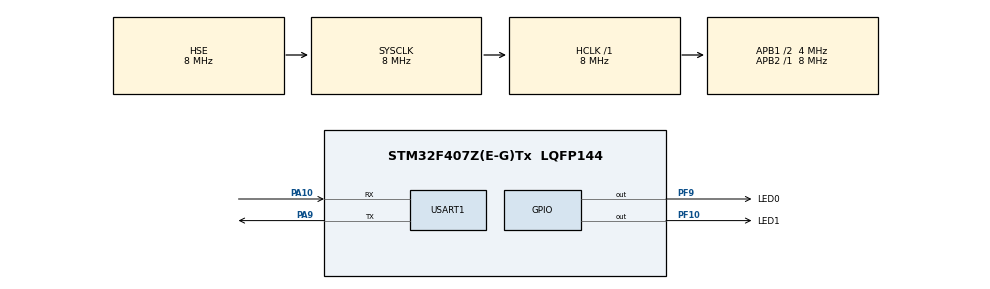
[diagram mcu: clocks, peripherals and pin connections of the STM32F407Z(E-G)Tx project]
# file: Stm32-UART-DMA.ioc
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Dma.Request0=USART1_RX
Dma.Request1=USART1_TX
Dma.USART1_RX.0.Direction=DMA_PERIPH_TO_MEMORY
Dma.USART1_RX.0.FIFOMode=DMA_FIFOMODE_DISABLE
Dma.USART1_RX.0.Instance=DMA2_Stream2
Dma.USART1_RX.0.MemDataAlignment=DMA_MDATAALIGN_BYTE
Dma.USART1_RX.0.MemInc=DMA_MINC_ENABLE
Dma.USART1_RX.0.Mode=DMA_NORMAL
Dma.USART1_RX.0.PeriphDataAlignment=DMA_PDATAALIGN_BYTE
Dma.USART1_RX.0.PeriphInc=DMA_PINC_DISABLE
Dma.USART1_RX.0.Priority=DMA_PRIORITY_LOW
Dma.USART1_TX.1.Direction=DMA_MEMORY_TO_PERIPH
Dma.USART1_TX.1.FIFOMode=DMA_FIFOMODE_DISABLE
Dma.USART1_TX.1.Instance=DMA2_Stream7
Dma.USART1_TX.1.MemDataAlignment=DMA_MDATAALIGN_BYTE
Dma.USART1_TX.1.MemInc=DMA_MINC_ENABLE
Dma.USART1_TX.1.Mode=DMA_NORMAL
Dma.USART1_TX.1.PeriphDataAlignment=DMA_PDATAALIGN_BYTE
Dma.USART1_TX.1.PeriphInc=DMA_PINC_DISABLE
Dma.USART1_TX.1.Priority=DMA_PRIORITY_LOW
FREERTOS.Tasks01=Task_LED1,0,128,Func_LED1,Default,NULL,Dynamic,NULL,NULL;Task_LED0,0,128,Func_LED0,Default,NULL,Dynamic,NULL,NULL
FREERTOS.configUSE_TIMERS=0
Mcu.Family=STM32F4
Mcu.Name=STM32F407Z(E-G)Tx
Mcu.Package=LQFP144
NVIC.DMA2_Stream2_IRQn=true\:5\:0\:false\:false\:true\:true\:false\:true
NVIC.DMA2_Stream7_IRQn=true\:5\:0\:false\:false\:true\:true\:false\:true
NVIC.PriorityGroup=NVIC_PRIORITYGROUP_4
NVIC.TIM1_UP_TIM10_IRQn=true\:15\:0\:false\:false\:true\:false\:false\:true
NVIC.TimeBase=TIM1_UP_TIM10_IRQn
NVIC.TimeBaseIP=TIM1
NVIC.USART1_IRQn=true\:5\:0\:false\:false\:true\:true\:true\:true
PA10.Mode=Asynchronous
PA10.Signal=USART1_RX
PA13.Mode=Serial_Wire
PA13.Signal=SYS_JTMS-SWDIO
PA14.Mode=Serial_Wire
PA14.Signal=SYS_JTCK-SWCLK
PA9.Mode=Asynchronous
PA9.Signal=USART1_TX
PC14-OSC32_IN.Mode=LSE-External-Oscillator
PC14-OSC32_IN.Signal=RCC_OSC32_IN
PC15-OSC32_OUT.Mode=LSE-External-Oscillator
PC15-OSC32_OUT.Signal=RCC_OSC32_OUT
PF10.GPIO_Label=LED1
PF10.GPIO_PuPd=GPIO_PULLUP
PF10.PinState=GPIO_PIN_SET
PF10.Signal=GPIO_Output
PF9.GPIO_Label=LED0
PF9.GPIO_PuPd=GPIO_PULLUP
PF9.PinState=GPIO_PIN_SET
PF9.Signal=GPIO_Output
PH0-OSC_IN.Mode=HSE-External-Oscillator
PH0-OSC_IN.Signal=RCC_OSC_IN
PH1-OSC_OUT.Mode=HSE-External-Oscillator
PH1-OSC_OUT.Signal=RCC_OSC_OUT
ProjectManager.HeapSize=0x200
ProjectManager.StackSize=0x400
ProjectManager.TargetToolchain=STM32CubeIDE
RCC.48MHZClocksFreq_Value=42000000
RCC.AHBFreq_Value=8000000
RCC.APB1CLKDivider=RCC_HCLK_DIV2
RCC.APB1Freq_Value=4000000
RCC.APB1TimFreq_Value=8000000
RCC.APB2Freq_Value=8000000
RCC.APB2TimFreq_Value=8000000
RCC.CortexFreq_Value=8000000
RCC.HCLKFreq_Value=8000000
RCC.HSE_VALUE=8000000
RCC.HSI_VALUE=16000000
RCC.PLLM=8
RCC.PLLN=168
RCC.PLLSourceVirtual=RCC_PLLSOURCE_HSE
RCC.SYSCLKFreq_VALUE=8000000
RCC.SYSCLKSource=RCC_SYSCLKSOURCE_HSE
RCC.VCOOutputFreq_Value=168000000
USART1.VirtualMode=VM_ASYNC
VP_FREERTOS_VS_CMSIS_V1.Mode=CMSIS_V1
VP_SYS_VS_tim1.Mode=TIM1
board=custom

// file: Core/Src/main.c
/* USER CODE BEGIN Header */
/**
  ******************************************************************************
  * @file           : main.c
  * @brief          : Main program body
  ******************************************************************************
  * @attention
  *
  * <h2><center>&copy; Copyright (c) 2021 STMicroelectronics.
  * All rights reserved.</center></h2>
  *
  * This software component is licensed by ST under Ultimate Liberty license
  * SLA0044, the "License"; You may not use this file except in compliance with
  * the License. You may obtain a copy of the License at:
  *                             www.st.com/SLA0044
  *
  ******************************************************************************
  */
/* USER CODE END Header */
#include "main.h"
#include "cmsis_os.h"

/* USER CODE BEGIN Includes */
#include "string.h"
#include "stdlib.h"
/* USER CODE END Includes */

UART_HandleTypeDef huart1;
DMA_HandleTypeDef hdma_usart1_rx;
DMA_HandleTypeDef hdma_usart1_tx;

osThreadId Task_LED1Handle;
osThreadId Task_LED0Handle;
/* USER CODE BEGIN PV */
SemaphoreHandle_t xSemaphore;
uint8_t SerialBuf[BUFFERSIZE];
unsigned int iLength = 0;
unsigned char bRecFlag = 0;
/* USER CODE END PV */

void SystemClock_Config(void);
static void MX_GPIO_Init(void);
static void MX_DMA_Init(void);
static void MX_USART1_UART_Init(void);
void Func_LED1(void const * argument);
void Func_LED0(void const * argument);

int main(void)
{

  /* MCU Configuration--------------------------------------------------------*/

  /* Reset of all peripherals, Initializes the Flash interface and the Systick. */
  HAL_Init();

  /* Configure the system clock */
  SystemClock_Config();

  /* Initialize all configured peripherals */
  MX_GPIO_Init();
  MX_DMA_Init();
  MX_USART1_UART_Init();

  /* USER CODE BEGIN RTOS_MUTEX */
    /* add mutexes, ... */
    xSemaphore = xSemaphoreCreateMutex();
  /* USER CODE END RTOS_MUTEX */

  /* Create the thread(s) */
  /* definition and creation of Task_LED1 */
  osThreadDef(Task_LED1, Func_LED1, osPriorityNormal, 0, 128);
  Task_LED1Handle = osThreadCreate(osThread(Task_LED1), NULL);

  /* definition and creation of Task_LED0 */
  osThreadDef(Task_LED0, Func_LED0, osPriorityNormal, 0, 128);
  Task_LED0Handle = osThreadCreate(osThread(Task_LED0), NULL);

  /* Start scheduler */
  osKernelStart();

  /* We should never get here as control is now taken by the scheduler */
  /* Infinite loop */
    while (1)
    {

    }
}

void SystemClock_Config(void)
{
  RCC_OscInitTypeDef RCC_OscInitStruct = {0};
  RCC_ClkInitTypeDef RCC_ClkInitStruct = {0};

  /** Configure the main internal regulator output voltage
  */
  __HAL_RCC_PWR_CLK_ENABLE();
  __HAL_PWR_VOLTAGESCALING_CONFIG(PWR_REGULATOR_VOLTAGE_SCALE1);
  /** Initializes the RCC Oscillators according to the specified parameters
  * in the RCC_OscInitTypeDef structure.
  */
  RCC_OscInitStruct.OscillatorType = RCC_OSCILLATORTYPE_HSE;
  RCC_OscInitStruct.HSEState = RCC_HSE_ON;
  RCC_OscInitStruct.PLL.PLLState = RCC_PLL_NONE;
  if (HAL_RCC_OscConfig(&RCC_OscInitStruct) != HAL_OK)
  {
    Error_Handler();
  }
  /** Initializes the CPU, AHB and APB buses clocks
  */
  RCC_ClkInitStruct.ClockType = RCC_CLOCKTYPE_HCLK|RCC_CLOCKTYPE_SYSCLK
                              |RCC_CLOCKTYPE_PCLK1|RCC_CLOCKTYPE_PCLK2;
  RCC_ClkInitStruct.SYSCLKSource = RCC_SYSCLKSOURCE_HSE;
  RCC_ClkInitStruct.AHBCLKDivider = RCC_SYSCLK_DIV1;
  RCC_ClkInitStruct.APB1CLKDivider = RCC_HCLK_DIV2;
  RCC_ClkInitStruct.APB2CLKDivider = RCC_HCLK_DIV1;

  if (HAL_RCC_ClockConfig(&RCC_ClkInitStruct, FLASH_LATENCY_0) != HAL_OK)
  {
    Error_Handler();
  }
}

static void MX_USART1_UART_Init(void)
{

  huart1.Instance = USART1;
  huart1.Init.BaudRate = 115200;
  huart1.Init.WordLength = UART_WORDLENGTH_8B;
  huart1.Init.StopBits = UART_STOPBITS_1;
  huart1.Init.Parity = UART_PARITY_NONE;
  huart1.Init.Mode = UART_MODE_TX_RX;
  huart1.Init.HwFlowCtl = UART_HWCONTROL_NONE;
  huart1.Init.OverSampling = UART_OVERSAMPLING_16;
  if (HAL_UART_Init(&huart1) != HAL_OK)
  {
    Error_Handler();
  }
  /* USER CODE BEGIN USART1_Init 2 */
  // Open UART_IT_IDLE interrupt
    __HAL_UART_ENABLE_IT(&huart1, UART_IT_IDLE);
  /* USER CODE END USART1_Init 2 */

}

static void MX_DMA_Init(void)
{

  /* DMA controller clock enable */
  __HAL_RCC_DMA2_CLK_ENABLE();

  /* DMA interrupt init */
  /* DMA2_Stream2_IRQn interrupt configuration */
  HAL_NVIC_SetPriority(DMA2_Stream2_IRQn, 5, 0);
  HAL_NVIC_EnableIRQ(DMA2_Stream2_IRQn);
  /* DMA2_Stream7_IRQn interrupt configuration */
  HAL_NVIC_SetPriority(DMA2_Stream7_IRQn, 5, 0);
  HAL_NVIC_EnableIRQ(DMA2_Stream7_IRQn);

}

static void MX_GPIO_Init(void)
{
  GPIO_InitTypeDef GPIO_InitStruct = {0};

  /* GPIO Ports Clock Enable */
  __HAL_RCC_GPIOC_CLK_ENABLE();
  __HAL_RCC_GPIOF_CLK_ENABLE();
  __HAL_RCC_GPIOH_CLK_ENABLE();
  __HAL_RCC_GPIOA_CLK_ENABLE();

  /*Configure GPIO pin Output Level */
  HAL_GPIO_WritePin(GPIOF, LED0_Pin|LED1_Pin, GPIO_PIN_SET);

  /*Configure GPIO pins : LED0_Pin LED1_Pin */
  GPIO_InitStruct.Pin = LED0_Pin|LED1_Pin;
  GPIO_InitStruct.Mode = GPIO_MODE_OUTPUT_PP;
  GPIO_InitStruct.Pull = GPIO_PULLUP;
  GPIO_InitStruct.Speed = GPIO_SPEED_FREQ_LOW;
  HAL_GPIO_Init(GPIOF, &GPIO_InitStruct);

}

void Func_LED1(void const * argument)
{
  /* USER CODE BEGIN 5 */
    /* Infinite loop */
    for(;;)
    {
//        HAL_UART_Transmit_DMA(&huart1, (uint8_t*)"Hello World!", sizeof "Hello World!");
        // 0. Check if there is data to be sent
        if(iLength != 0)
        {
            // 1. Take mutex
            if (xSemaphoreTake(xSemaphore, 100) == pdTRUE)
            {
                // 2. Transmit Data in DMA
                HAL_UART_Transmit_DMA(&huart1, (uint8_t*)SerialBuf, iLength);
                // 3. Release mutex
                xSemaphoreGive(xSemaphore);
            }
        }
    }
  /* USER CODE END 5 */
}

void Func_LED0(void const * argument)
{
  /* USER CODE BEGIN Func_LED0 */
    /* Infinite loop */
    HAL_UART_Receive_DMA(&huart1, (uint8_t*)SerialBuf, BUFFERSIZE);
    for(;;)
    {
        // 0. Check if data received
        if (bRecFlag) {
            // 1.Take mutex
            if(xSemaphoreTake(xSemaphore, 100) == pdTRUE)
            {
                // 2. Calculate the datalength
                uint8_t datalength = BUFFERSIZE - __HAL_DMA_GET_COUNTER(&hdma_usart1_rx);
                // 2. Record current data length
                iLength += datalength;
                // 3. Release mutex
                xSemaphoreGive(xSemaphore);
            }
            bRecFlag = 0;
            // Reinit the DMA to set the memory pointer to initial position in SerialBuf
            HAL_DMA_DeInit(&hdma_usart1_rx);
            HAL_DMA_Init(&hdma_usart1_rx);
            HAL_UART_Receive_DMA(&huart1, (uint8_t*)SerialBuf, BUFFERSIZE);
        }
    }
  /* USER CODE END Func_LED0 */
}

void HAL_TIM_PeriodElapsedCallback(TIM_HandleTypeDef *htim)
{
  if (htim->Instance == TIM1) {
    HAL_IncTick();
  }
}

void Error_Handler(void)
{
    __disable_irq();
    while (1)
    {
    }
}

/************************ (C) COPYRIGHT STMicroelectronics *****END OF FILE****/
